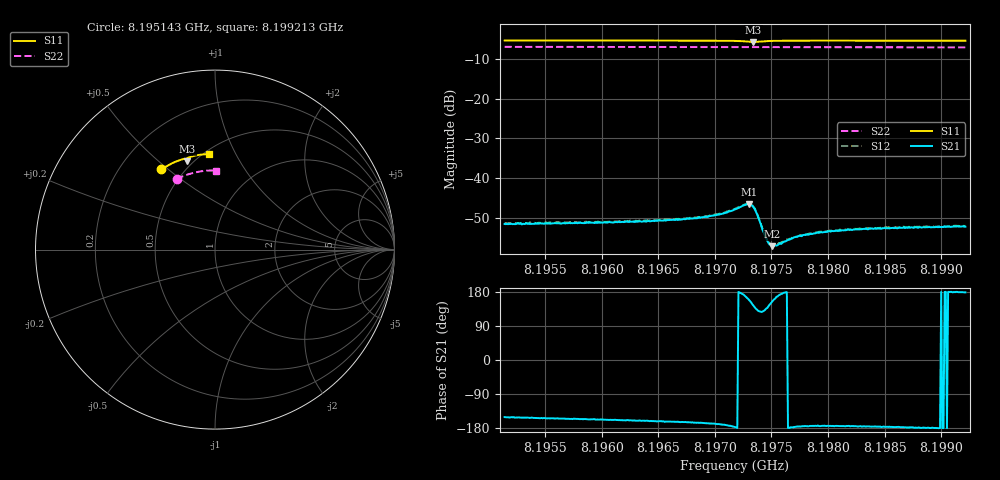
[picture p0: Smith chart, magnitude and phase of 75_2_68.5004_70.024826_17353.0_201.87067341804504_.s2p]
#  HZ  S  RI  R  50.00
! Rohde & Schwarz Vector Network Analyzer
! Rohde-Schwarz,ZNB20-2Port,1311601062101988,3.16
! Created: UTC 3/20/2024, 4:51:54 PM
! freq[Hz]  re:S11  im:S11  re:S21  im:S21  re:S12  im:S12  re:S22  im:S22
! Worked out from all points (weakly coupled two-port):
!   401 points, 8.195143 GHz to 8.199213 GHz, reference 50 ohm
!   highest |S21| = -46.60 dB at 8.1973 GHz (marker M1); lowest = -57.1 dB at 8.197504 GHz (marker M2)
!   lowest |S11| = -5.7 dB at 8.197341 GHz (marker M3), VSWR 3.13, Z = 23.3 + j31.3 ohm
!   |S11| at or under -10 dB: nowhere
!   |S22| runs from -7.1 to -7.0 dB; largest |S21 - S12| = 0.00024
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8.1951428e9  -0.2995 0.4468  -0.0023 -0.00129  -0.00243 -0.00124  -0.2133 0.3931
8.1958246e9  -0.2579 0.4715  -0.00248 -0.00111  -0.00258 -0.00104  -0.1787 0.4088
8.1965064e9  -0.2133 0.4923  -0.00278 -0.000923  -0.00283 -0.000837  -0.1428 0.4216
8.1966896e9  -0.2009 0.4971  -0.00287 -0.000833  -0.00295 -0.000735  -0.1328 0.4245
8.1969236e9  -0.1839 0.5029  -0.00316 -0.000753  -0.00326 -0.000615  -0.1201 0.4279
8.1970762e9  -0.1714 0.5058  -0.00354 -0.000584  -0.00361 -0.000442  -0.1118 0.4298
8.197178e9  -0.1616 0.5061  -0.00403 -0.000217  -0.0041 -2.83e-05  -0.106 0.4309
8.1972594e9  -0.1532 0.5023  -0.00449 0.000707  -0.00453 0.000928  -0.1015 0.4317
8.1973001e9  -0.151 0.4974  -0.00438 0.00166  -0.00435 0.00189  -0.0994 0.4321
8.1973205e9  -0.1516 0.4945  -0.00404 0.00215  -0.00398 0.00238  -0.0982 0.4322
8.1973408e9  -0.1536 0.4927  -0.00345 0.00257  -0.00339 0.00275  -0.0972 0.4323
8.1973713e9  -0.1579 0.4926  -0.00243 0.0026  -0.00233 0.00279  -0.0957 0.4328
8.1974324e9  -0.1611 0.5001  -0.00132 0.00159  -0.00126 0.00164  -0.0925 0.4336
8.1974528e9  -0.1601 0.5026  -0.00125 0.00123  -0.00118 0.00131  -0.0914 0.4339
8.1974833e9  -0.1582 0.5058  -0.00121 0.000816  -0.00122 0.00091  -0.0897 0.4342
8.1975036e9  -0.1567 0.5074  -0.00124 0.000628  -0.00128 0.000711  -0.0885 0.4343
8.1975342e9  -0.1542 0.5095  -0.00136 0.00043  -0.00136 0.000459  -0.0869 0.4347
8.1977173e9  -0.1392 0.5165  -0.00182 -0.000121  -0.00183 -2.69e-05  -0.0767 0.4364
8.1978598e9  -0.1283 0.5195  -0.00197 -0.000213  -0.00204 -0.000179  -0.0686 0.4375
8.1981753e9  -0.1053 0.5248  -0.00225 -0.000226  -0.00226 -0.000118  -0.0509 0.4394
8.1985416e9  -0.079 0.529  -0.00232 -0.000162  -0.00239 -6.08e-05  -0.0302 0.4406
8.1992132e9  -0.0314 0.5333  -0.00245 6.79e-05  -0.0025 0.00016  0.00775 0.4404
